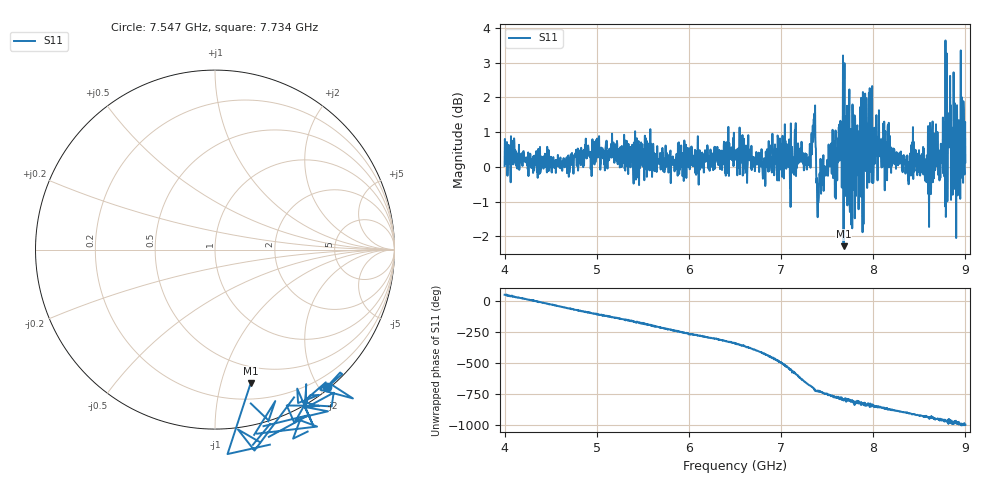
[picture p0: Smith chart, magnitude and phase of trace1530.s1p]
! Created with skrf 1.8.0 (http://scikit-rf.org).
# Hz S RI R 50.0
!freq ReS11 ImS11
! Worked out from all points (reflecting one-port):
!   1601 points, 4 GHz to 9 GHz, reference 50 ohm
!   lowest |S11| = -2.3 dB at 7.678 GHz (marker M1), VSWR 7.66, Z = 17.1 - j62.3 ohm
!   phase of S11 starts at 50 deg and turns -1051 deg over the sweep
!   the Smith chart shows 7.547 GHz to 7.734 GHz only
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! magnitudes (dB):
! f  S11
! 4 GHz  0.0
! 4.625 GHz  -0.1
! 5.25 GHz  0.0
! 5.875 GHz  0.2
! 6.5 GHz  0.4
! 6.806 GHz  0.0
! 7.125 GHz  0.1
! 7.294 GHz  0.0
! 7.353 GHz  1.4
! 7.409 GHz  -0.8
! 7.519 GHz  0.2
! 7.588 GHz  0.1
! 7.65 GHz  1.1
! 7.678 GHz  -2.3
! 7.75 GHz  0.3
! 7.769 GHz  0.3
! 7.8 GHz  -1.5
! 7.878 GHz  0.6
! 7.928 GHz  1.2
! 8.375 GHz  0.0
! 8.438 GHz  0.7
! 8.581 GHz  0.3
! 8.656 GHz  1.0
! 8.728 GHz  -0.3
! 8.816 GHz  0.9
! 8.919 GHz  -0.6
! 8.972 GHz  0.4
! 9 GHz  0.1
